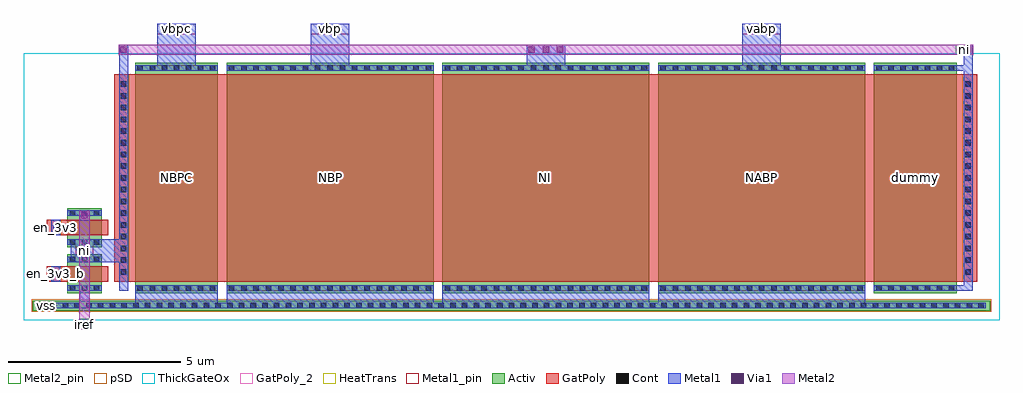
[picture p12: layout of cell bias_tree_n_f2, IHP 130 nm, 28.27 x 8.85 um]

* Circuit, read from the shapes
.subckt bias_tree_n_f2 en_3v3 en_3v3_b iref ni vabp vbp vbpc vss
XM1 ni en_3v3_b vss vss sg13_hv_nmos w=1u l=0.45u
XM2 iref en_3v3 ni vss sg13_hv_nmos w=1u l=0.45u
XM3 vbpc ni vss vss sg13_hv_nmos w=2.4u l=6u
XM4 vbp ni vss vss sg13_hv_nmos w=6u l=6u
XM5 ni ni vss vss sg13_hv_nmos w=6u l=6u
XM6 vabp ni vss vss sg13_hv_nmos w=6u l=6u
XM7 ni ni ni vss sg13_hv_nmos w=2.4u l=6u
.ends

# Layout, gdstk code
from math import pi, radians
import gdstk
lib = gdstk.Library(unit=1e-6, precision=1e-09)
def R(c, l, rs):  # rectangles x0, y0, x1, y1
    for r in rs: c.add(gdstk.rectangle(r[:2], r[2:], *l))
def A(c, l, x, y, w, h, nx, ny, dx, dy):  # array of equal rectangles
    R(c, l, [(x+i*dx, y+j*dy, x+i*dx+w, y+j*dy+h) for i in range(nx) for j in range(ny)])
Activ = (1, 0)
GatPoly = (5, 0)
GatPoly_2 = (5, 2)
Cont = (6, 0)
Metal1 = (8, 0)
Metal1_pin = (8, 2)
Metal2 = (10, 0)
Metal2_pin = (10, 2)
pSD = (14, 0)
Via1 = (19, 0)
ThickGateOx = (44, 0)
HeatTrans = (51, 0)

nmoshv_3_1 = lib.new_cell('nmosHV$3$1')
R(nmoshv_3_1, Activ, [(0,0,0.3,0.3), (0,0,6.68,6), (6.38,0,6.68,0.3)])
R(nmoshv_3_1, GatPoly, [(0.34,-0.18,6.34,6.18)])
R(nmoshv_3_1, GatPoly_2, [(0.34,-0.18,6.34,6.18)])
A(nmoshv_3_1, Cont, 0.07, 0.07, 0.16, 0.16, 1, 4, 0, 0.355)
A(nmoshv_3_1, Cont, 6.45, 0.07, 0.16, 0.16, 1, 4, 0, 0.355)
A(nmoshv_3_1, Cont, 0.07, 1.495, 0.16, 0.16, 1, 4, 0, 0.355)
A(nmoshv_3_1, Cont, 6.45, 1.495, 0.16, 0.16, 1, 4, 0, 0.355)
A(nmoshv_3_1, Cont, 0.07, 2.92, 0.16, 0.16, 1, 4, 0, 0.355)
A(nmoshv_3_1, Cont, 6.45, 2.92, 0.16, 0.16, 1, 4, 0, 0.355)
A(nmoshv_3_1, Cont, 0.07, 4.345, 0.16, 0.16, 1, 4, 0, 0.355)
A(nmoshv_3_1, Cont, 6.45, 4.345, 0.16, 0.16, 1, 4, 0, 0.355)
R(nmoshv_3_1, Cont, [(0.07,5.77,0.23,5.93), (6.45,5.77,6.61,5.93)])
R(nmoshv_3_1, Metal1, [(0.07,0,0.23,6), (6.45,0,6.61,6)])
R(nmoshv_3_1, Metal1_pin, [(0.07,0,0.23,6), (6.45,0,6.61,6)])
R(nmoshv_3_1, ThickGateOx, [(-0.27,-0.52,6.95,6.52)])
R(nmoshv_3_1, HeatTrans, [(0.34,-0.18,6.34,6.18)])
nmoshv_3_1.add(gdstk.Label('nmosHV', (3.34,3), layer=63, texttype=0))
nmoshv_3_1.add(gdstk.Label('nmosHV', (3.34,3), layer=51, texttype=0))

nmoshv_2 = lib.new_cell('nmosHV$2')
R(nmoshv_2, Activ, [(0,0,0.3,0.3), (0,0,6.68,2.4), (6.38,0,6.68,0.3)])
R(nmoshv_2, GatPoly, [(0.34,-0.18,6.34,2.58)])
R(nmoshv_2, GatPoly_2, [(0.34,-0.18,6.34,2.58)])
A(nmoshv_2, Cont, 0.07, 0.07, 0.16, 0.16, 1, 7, 0, 0.35)
A(nmoshv_2, Cont, 6.45, 0.07, 0.16, 0.16, 1, 7, 0, 0.35)
R(nmoshv_2, Metal1, [(0.07,0,0.23,2.4), (6.45,0,6.61,2.4)])
R(nmoshv_2, Metal1_pin, [(0.07,0,0.23,2.4), (6.45,0,6.61,2.4)])
R(nmoshv_2, ThickGateOx, [(-0.27,-0.52,6.95,2.92)])
R(nmoshv_2, HeatTrans, [(0.34,-0.18,6.34,2.58)])
nmoshv_2.add(gdstk.Label('nmosHV', (3.34,1.2), layer=63, texttype=0))
nmoshv_2.add(gdstk.Label('nmosHV', (3.34,1.2), layer=51, texttype=0))

nmoshv_8 = lib.new_cell('nmosHV$8')
R(nmoshv_8, Activ, [(0,0,0.3,0.3), (0,0,1.13,1), (0.83,0,1.13,0.3)])
R(nmoshv_8, GatPoly, [(0.34,-0.18,0.79,1.18)])
R(nmoshv_8, GatPoly_2, [(0.34,-0.18,0.79,1.18)])
A(nmoshv_8, Cont, 0.07, 0.07, 0.16, 0.16, 1, 3, 0, 0.35)
A(nmoshv_8, Cont, 0.9, 0.07, 0.16, 0.16, 1, 3, 0, 0.35)
R(nmoshv_8, Metal1, [(0.07,0,0.23,1), (0.9,0,1.06,1)])
R(nmoshv_8, Metal1_pin, [(0.07,0,0.23,1), (0.9,0,1.06,1)])
R(nmoshv_8, ThickGateOx, [(-0.27,-0.52,1.4,1.52)])
R(nmoshv_8, HeatTrans, [(0.34,-0.18,0.79,1.18)])
nmoshv_8.add(gdstk.Label('nmosHV', (0.565,0.5), layer=63, texttype=0))
nmoshv_8.add(gdstk.Label('nmosHV', (0.565,0.5), layer=51, texttype=0))

bias_tree_n_f2 = lib.new_cell('bias_tree_n_f2')
R(bias_tree_n_f2, Activ, [(-2.96,-0.51,24.77,-0.21)])
R(bias_tree_n_f2, GatPoly, [(-2.56,0.34,-2.06,0.79), (-0.6,0.34,-0.1,6.34), (23.9,0.34,24.4,6.34), (-2.56,1.68,-2.06,2.13)])
A(bias_tree_n_f2, Cont, -2.775, -0.44, 0.16, 0.16, 81, 1, 0.34, 0)
A(bias_tree_n_f2, Cont, -0.41, 0.54, 0.16, 0.16, 1, 17, 0, 0.34)
A(bias_tree_n_f2, Cont, 24.05, 0.54, 0.16, 0.16, 1, 17, 0, 0.34)
R(bias_tree_n_f2, Cont, [(-2.37,0.485,-2.21,0.645), (-2.37,1.825,-2.21,1.985)])
A(bias_tree_n_f2, Metal1, 2.65, -0.44, 6, 0.67, 3, 1, 6.25, 0)
R(bias_tree_n_f2, Metal1, [(-2.825,-0.44,24.635,-0.28), (-1.605,-0.44,-1.315,0.23), (0,-0.44,2.4,0.23), (-0.46,0.07,-0.2,6.61), (23.7,0.07,24.13,0.23), (24,0.07,24.26,6.61), (-2.42,0.34,-2.16,0.79), (-1.86,0.9,-1.06,1.57), (-1.06,0.9,-0.33,1.57), (-2.42,1.68,-2.16,2.13), (-1.605,2.105,-1.315,2.4), (0.645,6.45,1.755,7.805), (5.095,6.45,6.205,7.805), (11.345,6.45,12.455,7.205), (17.595,6.45,18.705,7.805), (23.7,6.45,24.13,6.61), (-0.46,6.48,-0.2,7.205), (24,6.48,24.26,7.205)])
R(bias_tree_n_f2, Metal1_pin, [(-2.825,-0.44,-2.325,-0.28), (-2.42,0.34,-2.16,0.79), (-1.71,0.9,-1.21,1.57), (-2.42,1.68,-2.16,2.13), (0.645,7.505,1.755,7.805), (5.095,7.505,6.205,7.805), (17.595,7.505,18.705,7.805)])
R(bias_tree_n_f2, Metal2, [(-1.61,-1.04,-1.31,2.395), (-0.475,6.915,24.275,7.205)])
R(bias_tree_n_f2, Metal2_pin, [(-1.61,-1.04,-1.31,-0.74), (23.775,6.915,24.275,7.205)])
R(bias_tree_n_f2, pSD, [(-2.99,-0.54,24.8,-0.18)])
A(bias_tree_n_f2, Via1, 11.395, 6.965, 0.19, 0.19, 3, 1, 0.41, 0)
R(bias_tree_n_f2, Via1, [(-1.555,2.155,-1.365,2.345), (-0.425,6.965,-0.235,7.155), (24.035,6.965,24.225,7.155)])
R(bias_tree_n_f2, ThickGateOx, [(-3.23,-0.78,25.04,6.95)])
bias_tree_n_f2.add(gdstk.Reference(nmoshv_3_1, (2.65,6.68), rotation=3*pi/2))
bias_tree_n_f2.add(gdstk.Reference(nmoshv_3_1, (8.9,6.68), rotation=3*pi/2))
bias_tree_n_f2.add(gdstk.Reference(nmoshv_3_1, (21.15,6.68), rotation=3*pi/2, x_reflection=True))
bias_tree_n_f2.add(gdstk.Reference(nmoshv_2, (0,6.68), rotation=3*pi/2))
bias_tree_n_f2.add(gdstk.Reference(nmoshv_2, (23.8,6.68), rotation=3*pi/2, x_reflection=True))
bias_tree_n_f2.add(gdstk.Reference(nmoshv_8, (-1.96,1.13), rotation=3*pi/2))
bias_tree_n_f2.add(gdstk.Reference(nmoshv_8, (-1.96,2.47), rotation=3*pi/2))
bias_tree_n_f2.add(gdstk.Label('vbpc', (1.2,7.655), layer=8, texttype=25))
bias_tree_n_f2.add(gdstk.Label('vbp', (5.65,7.655), layer=8, texttype=25))
bias_tree_n_f2.add(gdstk.Label('vabp', (18.15,7.655), layer=8, texttype=25))
bias_tree_n_f2.add(gdstk.Label('en_3v3_b', (-2.29,0.565), layer=8, texttype=25))
bias_tree_n_f2.add(gdstk.Label('en_3v3', (-2.29,1.905), layer=8, texttype=25))
bias_tree_n_f2.add(gdstk.Label('ni', (-1.46,1.235), layer=8, texttype=25))
bias_tree_n_f2.add(gdstk.Label('vss', (-2.575,-0.36), layer=8, texttype=25))
bias_tree_n_f2.add(gdstk.Label('ni', (24.025,7.06), layer=10, texttype=25))
bias_tree_n_f2.add(gdstk.Label('iref', (-1.46,-0.89), layer=10, texttype=25))
bias_tree_n_f2.add(gdstk.Label('NBPC', (1.2,3.34), layer=63, texttype=0))
bias_tree_n_f2.add(gdstk.Label('NBP', (5.65,3.34), layer=63, texttype=0))
bias_tree_n_f2.add(gdstk.Label('NI', (11.9,3.34), layer=63, texttype=0))
bias_tree_n_f2.add(gdstk.Label('NABP', (18.15,3.34), layer=63, texttype=0))
bias_tree_n_f2.add(gdstk.Label('dummy', (22.6,3.34), layer=63, texttype=0))
bias_tree_n_f2.add(gdstk.Label('TDN', (-1.46,0.565), layer=63, texttype=0))
bias_tree_n_f2.add(gdstk.Label('TGN', (-1.46,1.905), layer=63, texttype=0))

lib.write_gds('bias_tree_n_f2.gds')
